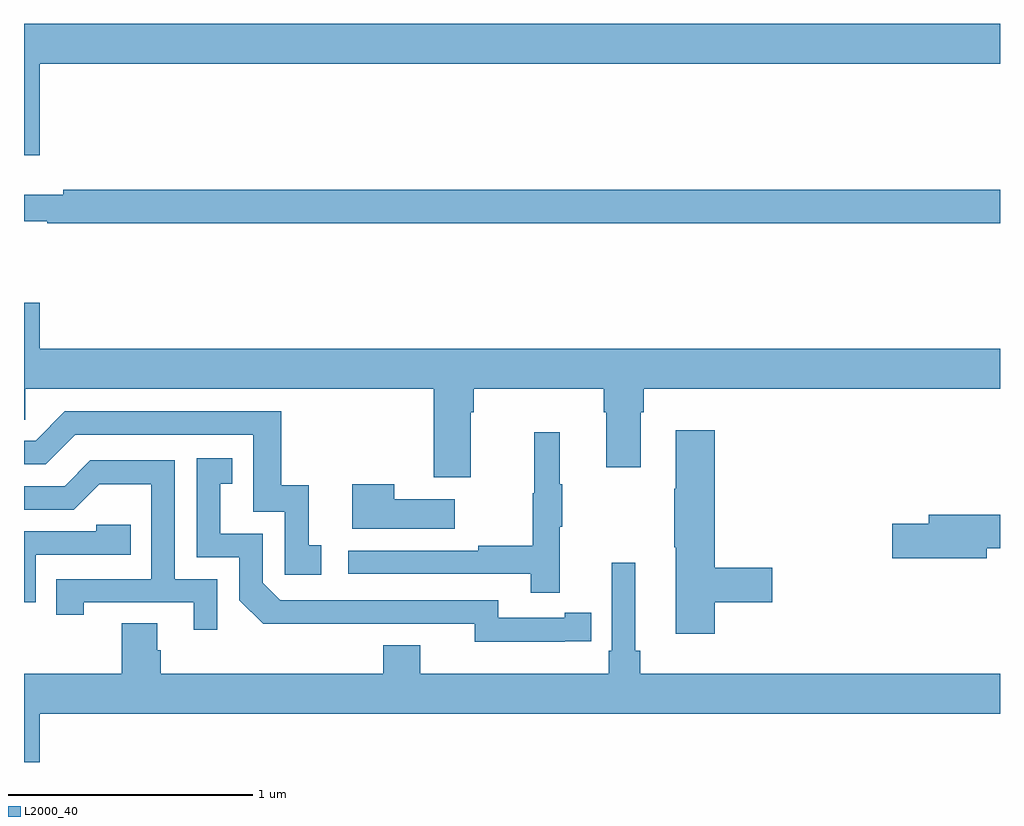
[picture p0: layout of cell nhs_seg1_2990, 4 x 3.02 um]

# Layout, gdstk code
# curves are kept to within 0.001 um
import gdstk
lib = gdstk.Library(unit=1e-6, precision=1e-09)
def P(c, l, *ps):  # polygons
    for p in ps: c.add(gdstk.Polygon(p, *l))
L2000_40 = (2000, 40)

nhs_seg1_2990 = lib.new_cell('nhs_seg1_2990')
P(nhs_seg1_2990, L2000_40, [(273.064,557.06),(277,557.06),(277,557.224),(273,557.224),(273,556.686),(273.064,556.686)],
  [(277,556.544),(273.16,556.544),(273.16,556.525),(273,556.525),(273,556.416),(273.095,556.416),(273.095,556.408),(277,556.408)],
  [(274.831,555.632),(274.844,555.632),(274.844,555.728),(275.375,555.728),(275.375,555.632),(275.387,555.632),(275.387,555.408),(275.527,555.408),(275.527,555.632),(275.54,555.632),(275.54,555.728),(277,555.728),(277,555.892),(273.064,555.892),(273.064,556.081),(273,556.081),(273,555.601),(273.006,555.601),(273.006,555.728),(274.679,555.728),(274.679,555.366),(274.831,555.366)],
  [(274.219,555.087),(274.166,555.087),(274.166,555.334),(274.055,555.334),(274.055,555.636),(273.168,555.636),(273.048,555.516),(273,555.516),(273,555.42),(273.09,555.42),(273.21,555.54),(273.939,555.54),(273.939,555.225),(274.068,555.225),(274.068,554.967),(274.219,554.967)],
  [(275.831,554.854),(276.067,554.854),(276.067,554.996),(275.831,554.996),(275.831,555.559),(275.672,555.559),(275.672,555.32),(275.665,555.32),(275.665,555.079),(275.672,555.079),(275.672,554.724),(275.831,554.724)],
  [(275.195,555.163),(275.206,555.163),(275.206,555.337),(275.195,555.337),(275.195,555.55),(275.092,555.55),(275.092,555.3),(275.085,555.3),(275.085,555.086),(274.861,555.086),(274.861,555.066),(274.329,555.066),(274.329,554.97),(275.077,554.97),(275.077,554.892),(275.195,554.892)],
  [(275.216,554.694),(275.324,554.694),(275.324,554.81),(275.216,554.81),(275.216,554.79),(274.944,554.79),(274.944,554.862),(274.05,554.862),(273.978,554.934),(273.978,555.135),(273.805,555.135),(273.805,555.339),(273.854,555.339),(273.854,555.445),(273.708,555.445),(273.708,555.039),(273.882,555.039),(273.882,554.862),(273.98,554.765),(274.848,554.766),(274.848,554.693)],
  [(273.792,554.949),(273.618,554.949),(273.618,555.435),(273.272,555.435),(273.167,555.33),(273,555.33),(273,555.234),(273.204,555.234),(273.308,555.338),(273.522,555.338),(273.522,554.949),(273.133,554.949),(273.133,554.802),(273.244,554.802),(273.244,554.853),(273.695,554.853),(273.695,554.742),(273.792,554.742)],
  [(274.765,555.277),(274.517,555.277),(274.517,555.337),(274.346,555.337),(274.346,555.155),(274.765,555.155)],
  [(276.946,555.076),(277,555.076),(277,555.212),(276.707,555.212),(276.707,555.176),(276.558,555.176),(276.558,555.034),(276.946,555.034)],
  [(273.048,555.048),(273.437,555.048),(273.437,555.171),(273.297,555.171),(273.297,555.144),(273,555.144),(273,554.853),(273.048,554.853)],
  [(273.4,554.768),(273.4,554.56),(273,554.56),(273,554.199),(273.064,554.199),(273.064,554.396),(277,554.396),(277,554.56),(275.525,554.56),(275.525,554.656),(275.506,554.656),(275.506,555.016),(275.409,555.016),(275.409,554.656),(275.396,554.656),(275.396,554.56),(274.624,554.56),(274.624,554.677),(274.472,554.677),(274.472,554.56),(273.56,554.56),(273.56,554.658),(273.547,554.658),(273.547,554.768)])

lib.write_gds('nhs_seg1_2990.gds')
